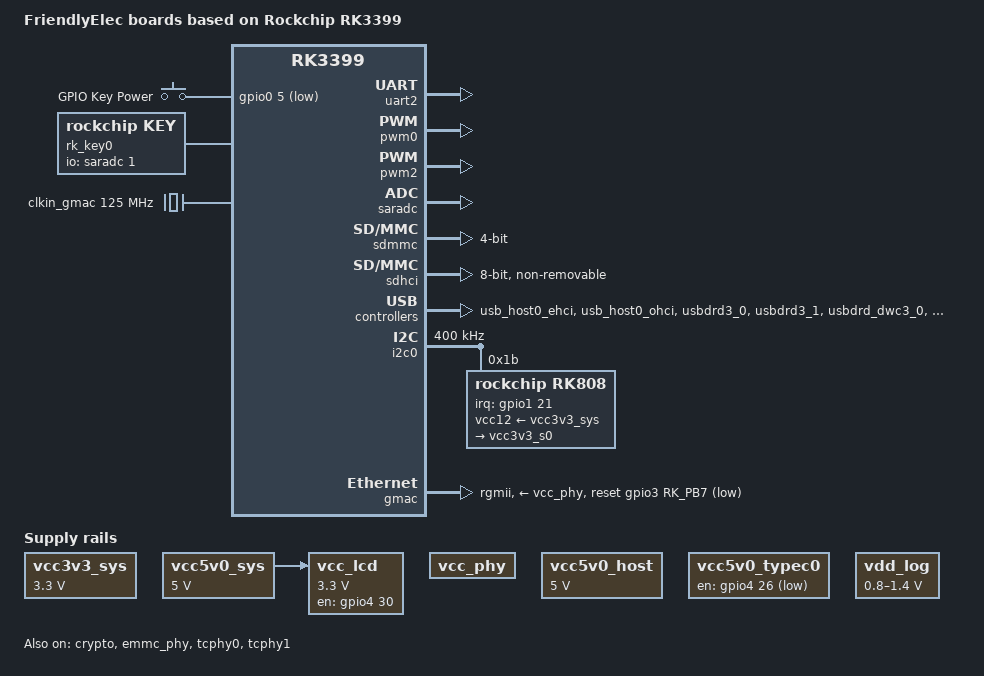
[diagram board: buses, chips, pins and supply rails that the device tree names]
/*
 * (C) Copyright 2020 FriendlyElec Computer Tech. Co., Ltd.
 * (http://www.friendlyarm.com)
 *
 * (C) Copyright 2016 Rockchip Electronics Co., Ltd
 *
 * SPDX-License-Identifier:     GPL-2.0+
 */

/dts-v1/;
#include <dt-bindings/pwm/pwm.h>
#include <dt-bindings/pinctrl/rockchip.h>
#include "rk3399.dtsi"
#include "rk3399-sdram-lpddr3-4GB-1600.dtsi"
#include "rk3399-u-boot.dtsi"
#include <linux/media-bus-format.h>
#include <dt-bindings/input/input.h>

/ {
	model = "FriendlyElec boards based on Rockchip RK3399";
	compatible = "friendlyelec,nanopi4",
		   "rockchip,rk3399";

	chosen {
		stdout-path = &uart2;
		u-boot,spl-boot-order = &sdhci, &sdmmc;
	};

	gpio_keys: gpio-keys {
		compatible = "gpio-keys";
		pinctrl-names = "default";
		pinctrl-0 = <&power_key>;

		power {
			debounce-interval = <50>;
			gpios = <&gpio0 5 GPIO_ACTIVE_LOW>;
			label = "GPIO Key Power";
			linux,code = <KEY_POWER>;
			wakeup-source;
		};
	};

	rk_key0 {
		u-boot,dm-pre-reloc;
		compatible = "rockchip,key";
		status = "okay";
		io-channels = <&saradc 1>;

		vol-up-key0 {
			u-boot,dm-pre-reloc;
			linux,code = <KEY_VOLUMEUP>;
			label = "volume up";
			rockchip,adc_value = <1>;
		};
	};

	vcc3v3_sys: vcc3v3-sys {
		compatible = "regulator-fixed";
		regulator-name = "vcc3v3_sys";
		regulator-always-on;
		regulator-boot-on;
		regulator-min-microvolt = <3300000>;
		regulator-max-microvolt = <3300000>;
	};

	vcc5v0_sys: vcc5v0-sys {
		compatible = "regulator-fixed";
		regulator-name = "vcc5v0_sys";
		regulator-always-on;
		regulator-boot-on;
		regulator-min-microvolt = <5000000>;
		regulator-max-microvolt = <5000000>;
	};

	vcc_phy: vcc-phy-regulator {
		compatible = "regulator-fixed";
		regulator-name = "vcc_phy";
		regulator-always-on;
		regulator-boot-on;
	};

	vcc_lcd: vcc-lcd {
		compatible = "regulator-fixed";
		regulator-name = "vcc_lcd";
		gpio = <&gpio4 30 GPIO_ACTIVE_HIGH>;
		startup-delay-us = <20000>;
		enable-active-high;
		regulator-min-microvolt = <3300000>;
		regulator-max-microvolt = <3300000>;
		regulator-boot-on;
		vin-supply = <&vcc5v0_sys>;
	};

	vcc5v0_host: vcc5v0-host-en {
		compatible = "regulator-fixed";
		regulator-name = "vcc5v0_host";
		regulator-always-on;
		regulator-boot-on;
		regulator-min-microvolt = <5000000>;
		regulator-max-microvolt = <5000000>;
	};

	vcc5v0_typec0: vcc5v0-typec0-en {
		compatible = "regulator-fixed";
		regulator-name = "vcc5v0_typec0";
		gpio = <&gpio4 26 GPIO_ACTIVE_HIGH>;
	};

	vdd_log: vdd-log {
		compatible = "pwm-regulator";
		pwms = <&pwm2 0 25000 1>;
		regulator-name = "vdd_log";
		regulator-min-microvolt = <800000>;
		regulator-max-microvolt = <1400000>;
		regulator-init-microvolt = <950000>;
		regulator-always-on;
		regulator-boot-on;

		/* for rockchip boot on */
		rockchip,pwm_id = <2>;
		rockchip,pwm_voltage = <900000>;
	};

	clkin_gmac: external-gmac-clock {
		compatible = "fixed-clock";
		clock-frequency = <125000000>;
		clock-output-names = "clkin_gmac";
		#clock-cells = <0>;
	};

	backlight: backlight {
		status = "disabled";
		compatible = "pwm-backlight";
		power-supply = <&vcc3v3_sys>;
		enable-gpios = <&gpio4 29 GPIO_ACTIVE_HIGH>;
		brightness-levels = <
			  0   1   2   3   4   5   6   7
			  8   9  10  11  12  13  14  15
			 16  17  18  19  20  21  22  23
			 24  25  26  27  28  29  30  31
			 32  33  34  35  36  37  38  39
			 40  41  42  43  44  45  46  47
			 48  49  50  51  52  53  54  55
			 56  57  58  59  60  61  62  63
			 64  65  66  67  68  69  70  71
			 72  73  74  75  76  77  78  79
			 80  81  82  83  84  85  86  87
			 88  89  90  91  92  93  94  95
			 96  97  98  99 100 101 102 103
			104 105 106 107 108 109 110 111
			112 113 114 115 116 117 118 119
			120 121 122 123 124 125 126 127
			128 129 130 131 132 133 134 135
			136 137 138 139 140 141 142 143
			144 145 146 147 148 149 150 151
			152 153 154 155 156 157 158 159
			160 161 162 163 164 165 166 167
			168 169 170 171 172 173 174 175
			176 177 178 179 180 181 182 183
			184 185 186 187 188 189 190 191
			192 193 194 195 196 197 198 199
			200 201 202 203 204 205 206 207
			208 209 210 211 212 213 214 215
			216 217 218 219 220 221 222 223
			224 225 226 227 228 229 230 231
			232 233 234 235 236 237 238 239
			240 241 242 243 244 245 246 247
			248 249 250 251 252 253 254 255>;
		default-brightness-level = <200>;
		pwms = <&pwm0 0 25000 0>;
		pinctrl-names = "default";
		pinctrl-0 = <&pwm0_pin>;
		pwm-delay-us = <10000>;
	};

	panel: panel {
		status = "disabled";
		compatible = "simple-panel";
		backlight = <&backlight>;
		power-supply = <&vcc_lcd>;
		prepare-delay-ms = <20>;
		enable-delay-ms = <20>;
	};
};

&crypto {
	status = "okay";
};

&uart2 {
	status = "okay";
};

&emmc_phy {
	status = "okay";
};

&pwm0 {
	status = "okay";
};

&pwm2 {
	status = "okay";
};

&saradc {
	status = "okay";
};

&sdmmc {
	bus-width = <4>;
	mmc-broken-hs;
	status = "okay";
};

&sdhci {
	bus-width = <8>;
	mmc-hs400-1_8v;
	mmc-hs400-enhanced-strobe;
	non-removable;
	status = "okay";
};

&tcphy0 {
	status = "okay";
};

&tcphy1 {
	status = "okay";
};

&usb_host0_ehci {
	status = "okay";
};

&usb_host0_ohci {
	status = "okay";
};

&usbdrd3_0 {
	status = "okay";
};

&usbdrd3_1 {
	status = "okay";
};

&usbdrd_dwc3_0 {
	status = "okay";
};

&usbdrd_dwc3_1 {
	status = "okay";
};

&usb_host1_ehci {
	status = "okay";
};

&usb_host1_ohci {
	status = "okay";
};

&i2c0 {
	status = "okay";
	clock-frequency = <400000>;
	i2c-scl-falling-time-ns = <50>;
	i2c-scl-rising-time-ns = <100>;

	rk808: pmic@1b {
		compatible = "rockchip,rk808";
		reg = <0x1b>;
		interrupt-parent = <&gpio1>;
		interrupts = <21 IRQ_TYPE_LEVEL_LOW>;
		pinctrl-names = "default";
		pinctrl-0 = <&pmic_int_l>;
		rockchip,system-power-controller;
		#clock-cells = <1>;
		clock-output-names = "xin32k", "wifibt_32kin";
		status = "okay";

		vcc12-supply = <&vcc3v3_sys>;

		regulators {
			vcc3v3_s0: SWITCH_REG2 {
				regulator-always-on;
				regulator-boot-on;
				regulator-name = "vcc3v3_s0";
				regulator-state-mem {
					regulator-off-in-suspend;
				};
			};
		};
	};
};

&mipi_dsi {
	status = "disabled";
	rockchip,panel = <&panel>;
	display-timings {
		timing0 {
		bits-per-pixel = <24>;
		clock-frequency = <160000000>;
		hfront-porch = <120>;
		hsync-len = <20>;
		hback-porch = <21>;
		hactive = <1200>;
		vfront-porch = <21>;
		vsync-len = <3>;
		vback-porch = <18>;
		vactive = <1920>;
		hsync-active = <0>;
		vsync-active = <0>;
		de-active = <1>;
		pixelclk-active = <0>;
		};
	};
};

&pinctrl {
	pmic {
		pmic_int_l: pmic-int-l {
			rockchip,pins = <1 21 RK_FUNC_GPIO &pcfg_pull_up>;
		};
	};

	keys {
		power_key: power-key {
			rockchip,pins = <0 5 RK_FUNC_GPIO &pcfg_pull_up>;
		};
	};
};

&gmac {
	phy-supply = <&vcc_phy>;
	phy-mode = "rgmii";
	clock_in_out = "input";
	snps,reset-gpio = <&gpio3 RK_PB7 GPIO_ACTIVE_LOW>;
	snps,reset-active-low;
	snps,reset-delays-us = <0 10000 50000>;
	assigned-clocks = <&cru SCLK_RMII_SRC>;
	assigned-clock-parents = <&clkin_gmac>;
	pinctrl-names = "default";
	pinctrl-0 = <&rgmii_pins>;
	tx_delay = <0x28>;
	rx_delay = <0x11>;
	status = "okay";
};
